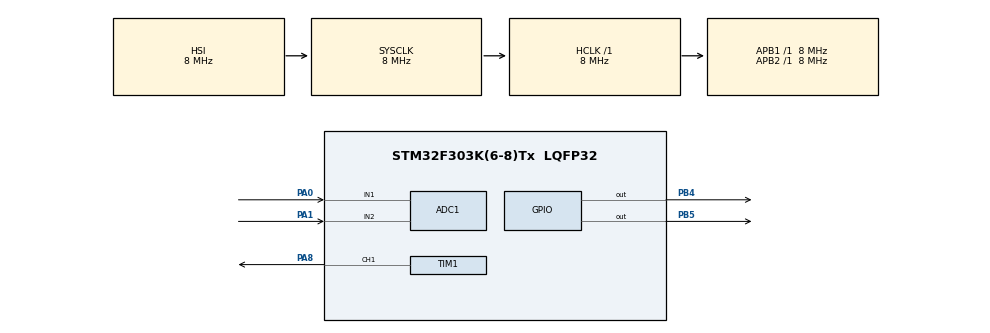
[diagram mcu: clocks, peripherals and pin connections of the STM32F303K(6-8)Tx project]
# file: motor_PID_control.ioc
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ADC1.Channel-0\#ChannelRegularConversion=ADC_CHANNEL_1
ADC1.Channel-1\#ChannelRegularConversion=ADC_CHANNEL_2
ADC1.ClockPrescaler=ADC_CLOCK_SYNC_PCLK_DIV1
ADC1.ContinuousConvMode=DISABLE
ADC1.DMAContinuousRequests=ENABLE
ADC1.EOCSelection=ADC_EOC_SEQ_CONV
ADC1.ExternalTrigConv=ADC_EXTERNALTRIGCONV_T2_TRGO
ADC1.NbrOfConversion=2
ADC1.NbrOfConversionFlag=1
ADC1.Offset-0\#ChannelRegularConversion=0
ADC1.Offset-1\#ChannelRegularConversion=0
ADC1.OffsetNumber-0\#ChannelRegularConversion=ADC_OFFSET_NONE
ADC1.OffsetNumber-1\#ChannelRegularConversion=ADC_OFFSET_NONE
ADC1.Rank-0\#ChannelRegularConversion=1
ADC1.Rank-1\#ChannelRegularConversion=2
ADC1.SamplingTime-0\#ChannelRegularConversion=ADC_SAMPLETIME_19CYCLES_5
ADC1.SamplingTime-1\#ChannelRegularConversion=ADC_SAMPLETIME_19CYCLES_5
ADC1.SamplingTimeOPAMP-1\#ChannelRegularConversion=ADC_SAMPLETIME_4CYCLES_5
ADC1.SubFamily=STM32F303x8
ADC1.master=1
Dma.ADC1.1.Direction=DMA_PERIPH_TO_MEMORY
Dma.ADC1.1.Instance=DMA1_Channel1
Dma.ADC1.1.MemDataAlignment=DMA_MDATAALIGN_HALFWORD
Dma.ADC1.1.MemInc=DMA_MINC_ENABLE
Dma.ADC1.1.Mode=DMA_CIRCULAR
Dma.ADC1.1.PeriphDataAlignment=DMA_PDATAALIGN_HALFWORD
Dma.ADC1.1.PeriphInc=DMA_PINC_DISABLE
Dma.ADC1.1.Priority=DMA_PRIORITY_LOW
Dma.Request0=TIM1_CH1
Dma.Request1=ADC1
Dma.TIM1_CH1.0.Direction=DMA_PERIPH_TO_MEMORY
Dma.TIM1_CH1.0.Instance=DMA1_Channel2
Dma.TIM1_CH1.0.MemDataAlignment=DMA_MDATAALIGN_HALFWORD
Dma.TIM1_CH1.0.MemInc=DMA_MINC_ENABLE
Dma.TIM1_CH1.0.Mode=DMA_CIRCULAR
Dma.TIM1_CH1.0.PeriphDataAlignment=DMA_PDATAALIGN_HALFWORD
Dma.TIM1_CH1.0.PeriphInc=DMA_PINC_DISABLE
Dma.TIM1_CH1.0.Priority=DMA_PRIORITY_LOW
Mcu.Family=STM32F3
Mcu.Name=STM32F303K(6-8)Tx
Mcu.Package=LQFP32
NVIC.DMA1_Channel1_IRQn=true\:0\:0\:false\:false\:true\:false\:true\:true
NVIC.DMA1_Channel2_IRQn=true\:0\:0\:false\:false\:true\:false\:true\:true
NVIC.PriorityGroup=NVIC_PRIORITYGROUP_4
PA0.Mode=IN1-Single-Ended
PA0.Signal=ADC1_IN1
PA1.Mode=IN2-Single-Ended
PA1.Signal=ADC1_IN2
PA13.Mode=Serial_Wire
PA13.Signal=SYS_JTMS-SWDIO
PA14.Mode=Serial_Wire
PA14.Signal=SYS_JTCK-SWCLK
PA8.Signal=S_TIM1_CH1
PB4.Signal=GPIO_Output
PB5.Signal=GPIO_Output
ProjectManager.HeapSize=0x200
ProjectManager.StackSize=0x400
ProjectManager.TargetToolchain=STM32CubeIDE
RCC.AHBFreq_Value=8000000
RCC.APB1Freq_Value=8000000
RCC.APB2Freq_Value=8000000
RCC.CortexFreq_Value=8000000
RCC.HSE_VALUE=8000000
RCC.HSI_VALUE=8000000
RCC.SYSCLKFreq_VALUE=8000000
SH.S_TIM1_CH1.0=TIM1_CH1,PWM Generation1 CH1
TIM1.Channel-PWM\ Generation1\ CH1=TIM_CHANNEL_1
TIM1.Period=999
TIM1.Prescaler=7
TIM2.Period=99
TIM2.Prescaler=7
TIM2.TIM_MasterOutputTrigger=TIM_TRGO_UPDATE
TIM2.TIM_MasterSlaveMode=TIM_MASTERSLAVEMODE_ENABLE
VP_TIM2_VS_ClockSourceINT.Mode=Internal
board=custom

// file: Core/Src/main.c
/* USER CODE BEGIN Header */
/**
 ******************************************************************************
 * @file           : main.c
 * @brief          : Main program body
 ******************************************************************************
 * @attention
 *
 * Copyright (c) 2025 STMicroelectronics.
 * All rights reserved.
 *
 * This software is licensed under terms that can be found in the LICENSE file
 * in the root directory of this software component.
 * If no LICENSE file comes with this software, it is provided AS-IS.
 *
 ******************************************************************************
 */
/* USER CODE END Header */
#include "main.h"

/* USER CODE BEGIN PTD */
typedef struct
{
	//cannot set values here since no memory allocated in declaration
	float Ts; //sampling time
	float proportional_gain;
	float integral_gain;
	float derivative_gain;

	float tau; // 1/(cutoff frequency of low pass filter after derivative component)

	float proportional_out;
	float integral_out;
	float derivative_out;

	int16_t error; //error is signed
	uint16_t measured_pos;

	float total_out;
	float out_max;
	float out_min;
} pid_controller;
/* USER CODE END PTD */

/* USER CODE BEGIN PD */
#define ADC_BUF_SIZE	2
#define MOTOR_HISTORY_LEN	3 //PID only needs 3 max since it is at most second order
/* USER CODE END PD */

ADC_HandleTypeDef hadc1;
DMA_HandleTypeDef hdma_adc1;

TIM_HandleTypeDef htim1;
TIM_HandleTypeDef htim2;
DMA_HandleTypeDef hdma_tim1_ch1;

/* USER CODE BEGIN PV */
volatile uint8_t position_ready = 0; //flag representing whether or not position data is ready from adc
uint16_t raw_pos_values[ADC_BUF_SIZE];

uint16_t motor1_pos[MOTOR_HISTORY_LEN];
uint16_t motor2_pos[MOTOR_HISTORY_LEN];
/* USER CODE END PV */

void SystemClock_Config(void);
static void MX_GPIO_Init(void);
static void MX_DMA_Init(void);
static void MX_TIM1_Init(void);
static void MX_ADC1_Init(void);
static void MX_TIM2_Init(void);
/* USER CODE BEGIN PFP */
void initialize_PID(pid_controller *controller, uint16_t updated_measured_pos);
void set_gains_PID(pid_controller *controller, float Kp, float Ki, float Kd);
void update_PID(pid_controller *controller, uint16_t updated_measured_pos, uint16_t set_point);
void update_motor_input(int16_t new_out, uint32_t **active_buffer, uint32_t **inactive_buffer);
/* USER CODE END PFP */

int main(void)
{

	/* MCU Configuration--------------------------------------------------------*/

	/* Reset of all peripherals, Initializes the Flash interface and the Systick. */
	HAL_Init();

	/* Configure the system clock */
	SystemClock_Config();

	/* Initialize all configured peripherals */
	MX_GPIO_Init();
	MX_DMA_Init();
	MX_TIM1_Init();
	MX_ADC1_Init();
	MX_TIM2_Init();
	/* USER CODE BEGIN 2 */

	//Initialize PWM
	//creating two buffers for a single motor. When changing speed, can update the inactive buffer and swap it with the active buffer
	//to avoid two devices trying to write to the same buffer.
	volatile uint32_t bufferA = 400; //out of 999, determines on time of PWM signal
	volatile uint32_t bufferB = 750;
	volatile uint32_t *active_buffer = &bufferA;
	volatile uint32_t *inactive_buffer = &bufferB;
	HAL_TIM_PWM_Start_DMA(&htim1, TIM_CHANNEL_1, (uint32_t*) active_buffer, 1); //send the pulse to the timer peripheral, which determines duty cycle
	//Initialize ADC
	if (HAL_TIM_Base_Start(&htim2) != HAL_OK)
	{
		Error_Handler();
	}

	if (HAL_ADCEx_Calibration_Start(&hadc1, ADC_SINGLE_ENDED) != HAL_OK) //calibrate ADC to get rid of offset error, Ex stands for extended. Special marking for function in HAL that might differ on other stm32 lines.
	{ //No Ex in HAL functions means you can easily copy code to other stm32 families.
		Error_Handler();
	}

	if (HAL_ADC_Start_DMA(&hadc1, (uint32_t*) raw_pos_values, 2) != HAL_OK)
	{
		Error_Handler();
	}

	//initialize PID controller
	pid_controller motor1_controller;
	initialize_PID(&motor1_controller, 0);
	set_gains_PID(&motor1_controller, 6, 200, .015); //RED MOTOR (also works for yellow but less aggressive)
	//set_gains_PID(&motor1_controller, 12, 600, .02); //YELLOW MOTOR

	/* USER CODE END 2 */

	/* Infinite loop */
	/* USER CODE BEGIN WHILE */
	while (1)
	{
		//The code updates the angle every 1 second, it is slow just for demo purposes. The analog output of the motor encoders will be connected to either pin A0 or A1.
		//The angle values will be in motor1_pos and motor2_pos. Must view live expressions and add these arrays to see the angles.
		while (!position_ready);
		position_ready = 0;	//set flag back to 0
		uint16_t motor_position1 = motor1_pos[0];
		update_PID(&motor1_controller, motor_position1, 180);
		update_motor_input((int16_t) motor1_controller.total_out, &active_buffer, &inactive_buffer);
		/* USER CODE END WHILE */

	}
}

void SystemClock_Config(void)
{
	RCC_OscInitTypeDef RCC_OscInitStruct =
	{ 0 };
	RCC_ClkInitTypeDef RCC_ClkInitStruct =
	{ 0 };
	RCC_PeriphCLKInitTypeDef PeriphClkInit =
	{ 0 };

	/** Initializes the RCC Oscillators according to the specified parameters
	 * in the RCC_OscInitTypeDef structure.
	 */
	RCC_OscInitStruct.OscillatorType = RCC_OSCILLATORTYPE_HSI;
	RCC_OscInitStruct.HSIState = RCC_HSI_ON;
	RCC_OscInitStruct.HSICalibrationValue = RCC_HSICALIBRATION_DEFAULT;
	RCC_OscInitStruct.PLL.PLLState = RCC_PLL_NONE;
	if (HAL_RCC_OscConfig(&RCC_OscInitStruct) != HAL_OK)
	{
		Error_Handler();
	}

	/** Initializes the CPU, AHB and APB buses clocks
	 */
	RCC_ClkInitStruct.ClockType = RCC_CLOCKTYPE_HCLK | RCC_CLOCKTYPE_SYSCLK | RCC_CLOCKTYPE_PCLK1 | RCC_CLOCKTYPE_PCLK2;
	RCC_ClkInitStruct.SYSCLKSource = RCC_SYSCLKSOURCE_HSI;
	RCC_ClkInitStruct.AHBCLKDivider = RCC_SYSCLK_DIV1;
	RCC_ClkInitStruct.APB1CLKDivider = RCC_HCLK_DIV1;
	RCC_ClkInitStruct.APB2CLKDivider = RCC_HCLK_DIV1;

	if (HAL_RCC_ClockConfig(&RCC_ClkInitStruct, FLASH_LATENCY_0) != HAL_OK)
	{
		Error_Handler();
	}
	PeriphClkInit.PeriphClockSelection = RCC_PERIPHCLK_TIM1;
	PeriphClkInit.Tim1ClockSelection = RCC_TIM1CLK_HCLK;
	if (HAL_RCCEx_PeriphCLKConfig(&PeriphClkInit) != HAL_OK)
	{
		Error_Handler();
	}
}

static void MX_ADC1_Init(void)
{

	ADC_MultiModeTypeDef multimode =
	{ 0 };
	ADC_ChannelConfTypeDef sConfig =
	{ 0 };

	/** Common config
	 */
	hadc1.Instance = ADC1;
	hadc1.Init.ClockPrescaler = ADC_CLOCK_SYNC_PCLK_DIV1;
	hadc1.Init.Resolution = ADC_RESOLUTION_12B;
	hadc1.Init.ScanConvMode = ADC_SCAN_ENABLE;
	hadc1.Init.ContinuousConvMode = DISABLE;
	hadc1.Init.DiscontinuousConvMode = DISABLE;
	hadc1.Init.ExternalTrigConvEdge = ADC_EXTERNALTRIGCONVEDGE_RISING;
	hadc1.Init.ExternalTrigConv = ADC_EXTERNALTRIGCONV_T2_TRGO;
	hadc1.Init.DataAlign = ADC_DATAALIGN_RIGHT;
	hadc1.Init.NbrOfConversion = 2;
	hadc1.Init.DMAContinuousRequests = ENABLE;
	hadc1.Init.EOCSelection = ADC_EOC_SEQ_CONV;
	hadc1.Init.LowPowerAutoWait = DISABLE;
	hadc1.Init.Overrun = ADC_OVR_DATA_OVERWRITTEN;
	if (HAL_ADC_Init(&hadc1) != HAL_OK)
	{
		Error_Handler();
	}

	/** Configure the ADC multi-mode
	 */
	multimode.Mode = ADC_MODE_INDEPENDENT;
	if (HAL_ADCEx_MultiModeConfigChannel(&hadc1, &multimode) != HAL_OK)
	{
		Error_Handler();
	}

	/** Configure Regular Channel
	 */
	sConfig.Channel = ADC_CHANNEL_1;
	sConfig.Rank = ADC_REGULAR_RANK_1;
	sConfig.SingleDiff = ADC_SINGLE_ENDED;
	sConfig.SamplingTime = ADC_SAMPLETIME_19CYCLES_5;
	sConfig.OffsetNumber = ADC_OFFSET_NONE;
	sConfig.Offset = 0;
	if (HAL_ADC_ConfigChannel(&hadc1, &sConfig) != HAL_OK)
	{
		Error_Handler();
	}

	/** Configure Regular Channel
	 */
	sConfig.Channel = ADC_CHANNEL_2;
	sConfig.Rank = ADC_REGULAR_RANK_2;
	if (HAL_ADC_ConfigChannel(&hadc1, &sConfig) != HAL_OK)
	{
		Error_Handler();
	}

}

static void MX_TIM1_Init(void)
{

	TIM_MasterConfigTypeDef sMasterConfig =
	{ 0 };
	TIM_OC_InitTypeDef sConfigOC =
	{ 0 };
	TIM_BreakDeadTimeConfigTypeDef sBreakDeadTimeConfig =
	{ 0 };

	htim1.Instance = TIM1;
	htim1.Init.Prescaler = 7;
	htim1.Init.CounterMode = TIM_COUNTERMODE_UP;
	htim1.Init.Period = 999;
	htim1.Init.ClockDivision = TIM_CLOCKDIVISION_DIV1;
	htim1.Init.RepetitionCounter = 0;
	htim1.Init.AutoReloadPreload = TIM_AUTORELOAD_PRELOAD_DISABLE;
	if (HAL_TIM_PWM_Init(&htim1) != HAL_OK)
	{
		Error_Handler();
	}
	sMasterConfig.MasterOutputTrigger = TIM_TRGO_RESET;
	sMasterConfig.MasterOutputTrigger2 = TIM_TRGO2_RESET;
	sMasterConfig.MasterSlaveMode = TIM_MASTERSLAVEMODE_DISABLE;
	if (HAL_TIMEx_MasterConfigSynchronization(&htim1, &sMasterConfig) != HAL_OK)
	{
		Error_Handler();
	}
	sConfigOC.OCMode = TIM_OCMODE_PWM1;
	sConfigOC.Pulse = 0;
	sConfigOC.OCPolarity = TIM_OCPOLARITY_HIGH;
	sConfigOC.OCNPolarity = TIM_OCNPOLARITY_HIGH;
	sConfigOC.OCFastMode = TIM_OCFAST_DISABLE;
	sConfigOC.OCIdleState = TIM_OCIDLESTATE_RESET;
	sConfigOC.OCNIdleState = TIM_OCNIDLESTATE_RESET;
	if (HAL_TIM_PWM_ConfigChannel(&htim1, &sConfigOC, TIM_CHANNEL_1) != HAL_OK)
	{
		Error_Handler();
	}
	sBreakDeadTimeConfig.OffStateRunMode = TIM_OSSR_DISABLE;
	sBreakDeadTimeConfig.OffStateIDLEMode = TIM_OSSI_DISABLE;
	sBreakDeadTimeConfig.LockLevel = TIM_LOCKLEVEL_OFF;
	sBreakDeadTimeConfig.DeadTime = 0;
	sBreakDeadTimeConfig.BreakState = TIM_BREAK_DISABLE;
	sBreakDeadTimeConfig.BreakPolarity = TIM_BREAKPOLARITY_HIGH;
	sBreakDeadTimeConfig.BreakFilter = 0;
	sBreakDeadTimeConfig.Break2State = TIM_BREAK2_DISABLE;
	sBreakDeadTimeConfig.Break2Polarity = TIM_BREAK2POLARITY_HIGH;
	sBreakDeadTimeConfig.Break2Filter = 0;
	sBreakDeadTimeConfig.AutomaticOutput = TIM_AUTOMATICOUTPUT_DISABLE;
	if (HAL_TIMEx_ConfigBreakDeadTime(&htim1, &sBreakDeadTimeConfig) != HAL_OK)
	{
		Error_Handler();
	}
	HAL_TIM_MspPostInit(&htim1);

}

static void MX_TIM2_Init(void)
{

	TIM_ClockConfigTypeDef sClockSourceConfig =
	{ 0 };
	TIM_MasterConfigTypeDef sMasterConfig =
	{ 0 };

	htim2.Instance = TIM2;
	htim2.Init.Prescaler = 7;
	htim2.Init.CounterMode = TIM_COUNTERMODE_UP;
	htim2.Init.Period = 99;
	htim2.Init.ClockDivision = TIM_CLOCKDIVISION_DIV1;
	htim2.Init.AutoReloadPreload = TIM_AUTORELOAD_PRELOAD_DISABLE;
	if (HAL_TIM_Base_Init(&htim2) != HAL_OK)
	{
		Error_Handler();
	}
	sClockSourceConfig.ClockSource = TIM_CLOCKSOURCE_INTERNAL;
	if (HAL_TIM_ConfigClockSource(&htim2, &sClockSourceConfig) != HAL_OK)
	{
		Error_Handler();
	}
	sMasterConfig.MasterOutputTrigger = TIM_TRGO_UPDATE;
	sMasterConfig.MasterSlaveMode = TIM_MASTERSLAVEMODE_ENABLE;
	if (HAL_TIMEx_MasterConfigSynchronization(&htim2, &sMasterConfig) != HAL_OK)
	{
		Error_Handler();
	}

}

static void MX_DMA_Init(void)
{

	/* DMA controller clock enable */
	__HAL_RCC_DMA1_CLK_ENABLE();

	/* DMA interrupt init */
	/* DMA1_Channel1_IRQn interrupt configuration */
	HAL_NVIC_SetPriority(DMA1_Channel1_IRQn, 0, 0);
	HAL_NVIC_EnableIRQ(DMA1_Channel1_IRQn);
	/* DMA1_Channel2_IRQn interrupt configuration */
	HAL_NVIC_SetPriority(DMA1_Channel2_IRQn, 0, 0);
	HAL_NVIC_EnableIRQ(DMA1_Channel2_IRQn);

}

static void MX_GPIO_Init(void)
{
	GPIO_InitTypeDef GPIO_InitStruct =
	{ 0 };

	/* GPIO Ports Clock Enable */
	__HAL_RCC_GPIOA_CLK_ENABLE();
	__HAL_RCC_GPIOB_CLK_ENABLE();

	/*Configure GPIO pin Output Level */
	HAL_GPIO_WritePin(GPIOB, GPIO_PIN_4 | GPIO_PIN_5, GPIO_PIN_RESET);

	/*Configure GPIO pins : PB4 PB5 */
	GPIO_InitStruct.Pin = GPIO_PIN_4 | GPIO_PIN_5;
	GPIO_InitStruct.Mode = GPIO_MODE_OUTPUT_PP;
	GPIO_InitStruct.Pull = GPIO_NOPULL;
	GPIO_InitStruct.Speed = GPIO_SPEED_FREQ_LOW;
	HAL_GPIO_Init(GPIOB, &GPIO_InitStruct);

}

/* USER CODE BEGIN 4 */
void initialize_PID(pid_controller *controller, uint16_t updated_measured_pos)
{

	controller->Ts = 0.0001; //equates to 10kHz
	controller->tau = .001;

	controller->out_max = 800;
	controller->out_min = -800;

	controller->proportional_gain = 0;
	controller->integral_gain = 0;
	controller->derivative_gain = 0;

	controller->proportional_out = 0;
	controller->integral_out = 0;
	controller->derivative_out = 0;
	controller->total_out = 0;

	controller->error = 0;
	controller->measured_pos = updated_measured_pos;
}
void set_gains_PID(pid_controller *controller, float Kp, float Ki, float Kd)
{
	controller->proportional_gain = Kp;
	controller->integral_gain = Ki;
	controller->derivative_gain = Kd;
}
void update_PID(pid_controller *controller, uint16_t updated_measured_pos, uint16_t set_point)
{
	int16_t adjusted_measured_pos = updated_measured_pos;

	int16_t updated_error = set_point - updated_measured_pos;

	//this block makes sure that if the setpoint is near boundaries (0 or 359 degrees), can still approach the setpoint
	//from the direction that has the angle measurement spike from 0 to 359 degrees or 359 to 0 degrees
	//this is done by adjusting the error term
	if (updated_measured_pos > set_point + 180 && set_point < 180)
	{
		adjusted_measured_pos = adjusted_measured_pos - 360;
	}
	else if (updated_measured_pos < set_point - 180 && set_point >= 180)
	{
		adjusted_measured_pos = adjusted_measured_pos + 360;
	}
	updated_error = set_point - adjusted_measured_pos;

	//calculate difference for derivative term, but need to account for when motor goes from 359->0 and 0->359
	//make sure that when it goes 359->0, the difference is 1, and 0->359 is -1
	int16_t position_difference = updated_measured_pos - controller->measured_pos;
	if (position_difference > 300) //when it goes from 0 to 359
	{
		position_difference = position_difference - 360;
	}
	else if (position_difference < -300) //when it goes from 359 to 0
	{
		position_difference = position_difference + 360;
	}

	//updated the outputs of the P, I, and D components of the controller
	controller->proportional_out = controller->proportional_gain * updated_error;
	controller->integral_out = controller->integral_gain * controller->Ts * (updated_error + controller->error) / 2.0 + controller->integral_out;
	controller->derivative_out = ((controller->derivative_gain * 2) * (position_difference) //
	+ (2 * controller->tau - controller->Ts) * controller->derivative_out) / (2 * controller->tau + controller->Ts);
	//note: derivative term uses measured value instead of error term to avoid kick back

	//clamp integrator implementation
	float integral_min, integral_max;
	//determine integrator limits
	if (controller->out_max > controller->proportional_out)
	{
		integral_max = controller->out_max - controller->proportional_out + controller->derivative_out; //see total_out comment to see why adding derivative term instead of subtracting here
	}
	else
	{
		integral_max = 0;
	}
	if (controller->out_min < controller->proportional_out)
	{
		integral_min = controller->out_min - controller->proportional_out + controller->derivative_out; //see total_out comment to see why adding derivative term instead of subtracting here
	}
	else
	{
		integral_min = 0;
	}

	//get absolute error
	int16_t absval_error = controller->error;
	if (absval_error < 0)
	{
		absval_error = -1 * absval_error;
	}

	if (absval_error < 30) //limit integrator even more once closer to desired angle.
	{
		integral_max = 340;
		integral_min = -340;
	}
	if (absval_error < 10) //limit integrator even more once closer to desired angle.
	{
		integral_max = 320; //RED MOTOR
		integral_min = -320;
	}
	//clamping of integrator
	if (controller->integral_out > integral_max)
	{
		controller->integral_out = integral_max;
	}
	else if (controller->integral_out < integral_min)
	{
		controller->integral_out = integral_min;
	}

	//compute total output of controller
	controller->total_out = controller->proportional_out + controller->integral_out - controller->derivative_out; //note negative sign on derivative term, this is correct since it is on the feedback loop

	//limit total output of controller
	if (controller->total_out > controller->out_max)
	{
		controller->total_out = controller->out_max;
	}
	else if (controller->total_out < controller->out_min)
	{
		controller->total_out = controller->out_min;
	}

	//updated the error and measured position
	controller->error = updated_error;
	controller->measured_pos = updated_measured_pos;

}
void update_motor_input(int16_t new_out, uint32_t **active_buffer_address, uint32_t **inactive_buffer_address)
{
	if (new_out > 0)
	{
		HAL_GPIO_WritePin(GPIOB, GPIO_PIN_5, GPIO_PIN_RESET);
		HAL_GPIO_WritePin(GPIOB, GPIO_PIN_4, GPIO_PIN_SET);

	}
	else if (new_out < 0)
	{
		HAL_GPIO_WritePin(GPIOB, GPIO_PIN_4, GPIO_PIN_RESET);
		HAL_GPIO_WritePin(GPIOB, GPIO_PIN_5, GPIO_PIN_SET);
		new_out = new_out * -1;
	}

	**inactive_buffer_address = new_out;
	uint32_t *temp_uint32_address = *active_buffer_address;
	*active_buffer_address = *inactive_buffer_address;
	*inactive_buffer_address = temp_uint32_address;

}
void HAL_ADC_ConvCpltCallback(ADC_HandleTypeDef *hadc) //once buffer that stores angular position data from motor encoder is full, stop the ADC and run this action
{
	for (int delay = MOTOR_HISTORY_LEN - 1; delay > 0; --delay) //shift all elements to right
	{
		motor1_pos[delay] = motor1_pos[delay - 1];
		motor2_pos[delay] = motor2_pos[delay - 1];
	}
	motor1_pos[0] = raw_pos_values[0] * 0.08789; //multiply by 360/4096 to convert ADC steps to angle in degrees
	motor2_pos[0] = raw_pos_values[1] * 0.08789;

	position_ready = 1; //signal to main loop that adc data ready
}
/* USER CODE END 4 */

void Error_Handler(void)
{
	__disable_irq();
	while (1)
	{
	}
}
